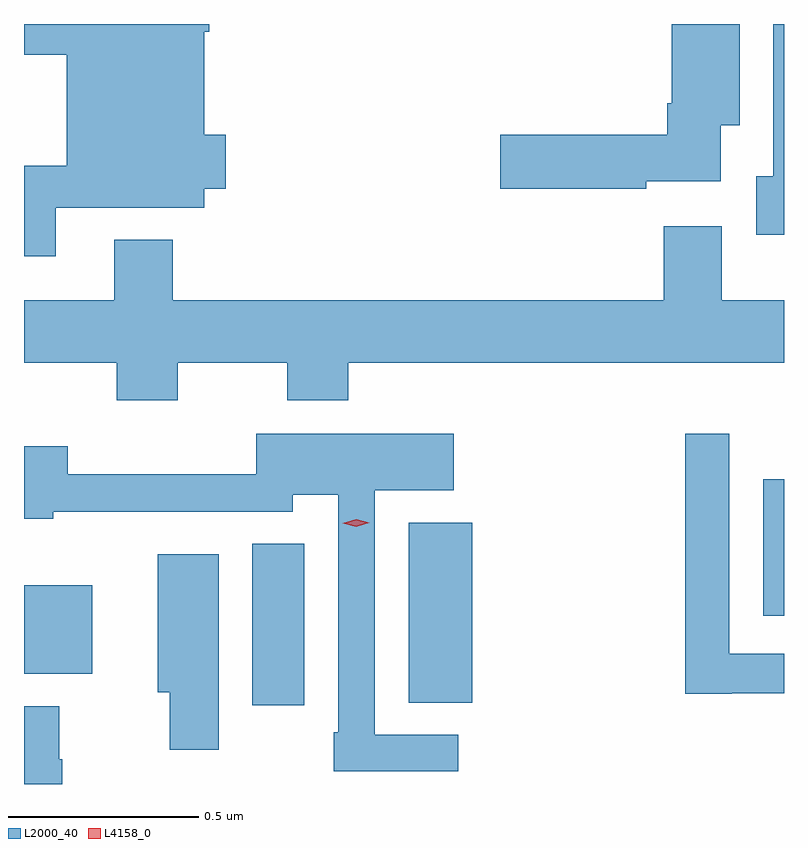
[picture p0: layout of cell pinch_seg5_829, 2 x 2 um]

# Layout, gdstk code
import gdstk
lib = gdstk.Library(unit=1e-6, precision=1e-09)
def R(c, l, rs):  # rectangles x0, y0, x1, y1
    for r in rs: c.add(gdstk.rectangle(r[:2], r[2:], *l))
def P(c, l, *ps):  # polygons
    for p in ps: c.add(gdstk.Polygon(p, *l))
L2000_40 = (2000, 40)
L4158_0 = (4158, 0)

pinch_seg5_829 = lib.new_cell('pinch_seg5_829')
R(pinch_seg5_829, L2000_40, [(768.746,885.162,768.883,885.587), (769.157,885.169,769.324,885.643), (768.145,885.245,768.325,885.478), (770.09,885.398,770.145,885.757)])
P(pinch_seg5_829, L2000_40, [(768.229,886.472),(768.619,886.472),(768.619,886.522),(768.676,886.522),(768.676,886.664),(768.619,886.664),(768.619,886.934),(768.632,886.934),(768.632,886.955),(768.145,886.955),(768.145,886.874),(768.257,886.874),(768.257,886.582),(768.145,886.582),(768.145,886.344),(768.229,886.344)],
  [(770.145,886.955),(770.117,886.955),(770.117,886.554),(770.072,886.554),(770.072,886.4),(770.145,886.4)],
  [(769.782,886.541),(769.978,886.541),(769.978,886.688),(770.029,886.688),(770.029,886.955),(769.85,886.955),(769.85,886.747),(769.838,886.747),(769.838,886.664),(769.398,886.664),(769.398,886.522),(769.782,886.522)],
  [(768.549,886.064),(768.838,886.064),(768.838,885.965),(768.998,885.965),(768.998,886.064),(770.145,886.064),(770.145,886.228),(769.981,886.228),(769.981,886.423),(769.829,886.423),(769.829,886.228),(768.536,886.228),(768.536,886.387),(768.383,886.387),(768.383,886.228),(768.145,886.228),(768.145,886.064),(768.389,886.064),(768.389,885.965),(768.549,885.965)],
  [(769.288,885.084),(769.068,885.084),(769.068,885.728),(769.276,885.728),(769.276,885.877),(768.756,885.877),(768.756,885.77),(768.26,885.77),(768.26,885.844),(768.145,885.844),(768.145,885.653),(768.222,885.653),(768.222,885.672),(768.852,885.672),(768.852,885.716),(768.972,885.716),(768.972,885.091),(768.96,885.091),(768.96,884.988),(769.288,884.988)],
  [(770.008,885.194),(770.145,885.194),(770.145,885.298),(770.001,885.298),(770.001,885.877),(769.885,885.877),(769.885,885.192),(770.008,885.192)],
  [(768.658,885.559),(768.497,885.559),(768.497,885.197),(768.529,885.197),(768.529,885.045),(768.658,885.045)],
  [(768.245,885.02),(768.238,885.02),(768.238,885.16),(768.145,885.16),(768.145,884.955),(768.245,884.955)])
P(pinch_seg5_829, L4158_0, [(769.019,885.632),(768.984,885.641),(768.984,885.641),(768.984,885.641),(769.019,885.652),(769.054,885.643),(769.054,885.642),(769.054,885.642)])

lib.write_gds('pinch_seg5_829.gds')
